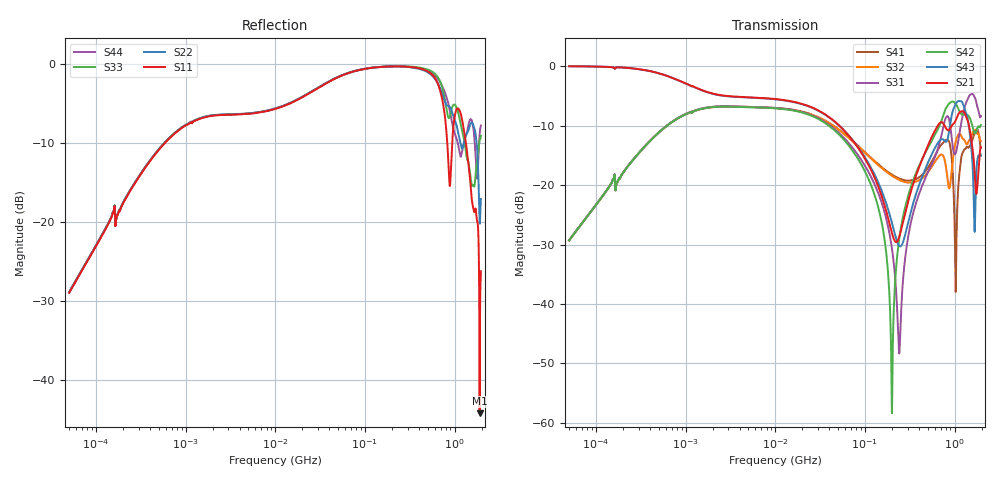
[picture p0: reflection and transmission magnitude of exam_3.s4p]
#  HZ  S  RI  R  50.00
! Rohde & Schwarz Vector Network Analyzer
! Rohde-Schwarz,ZNB8-4Port,1311601044102771,3.45
! Created: UTC 10/24/2024, 3:18:50 PM
!The following Port Impedance Renormalization has been used when saving the data.
!PortZ  Port1:50+j0  Port2:50+j0  Port3:50+j0  Port4:50+j0
! freq[Hz]  re:S11  im:S11  re:S12  im:S12  re:S13  im:S13  re:S14  im:S14
!  re:S21  im:S21  re:S22  im:S22  re:S23  im:S23  re:S24  im:S24
!  re:S31  im:S31  re:S32  im:S32  re:S33  im:S33  re:S34  im:S34
!  re:S41  im:S41  re:S42  im:S42  re:S43  im:S43  re:S44  im:S44
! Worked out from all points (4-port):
!   3995 points, 50 kHz to 1.968 GHz, reference 50 ohm
!   strongest paths, dB at 50 kHz, 703.4 kHz, 9.921 MHz, 139.9 MHz, 1.968 GHz:
!     S21: 0.0, -1.9, -5.5, -20.1, -13.6
!     S43: 0.0, -2.0, -5.6, -19.4, -15.1
!     S42: -29.3, -9.4, -7.1, -23.6, -9.9
!     S31: -29.3, -9.4, -7.0, -21.2, -8.4
!     S32: -29.3, -9.4, -7.1, -16.6, -12.6
!     S41: -29.3, -9.4, -7.0, -16.5, -13.8
!   lowest |S11| = -44.2 dB at 1.907 GHz (marker M1), VSWR 1.01, Z = 50 + j0.619 ohm
!   |S11| at or under -10 dB: start of sweep to 587.4 kHz; 829.9 MHz to 941.7 MHz (111.8 MHz wide, 12.6 % of centre); 1.34 GHz to end of sweep
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50000  0.00465 0.0354  0.996 -0.0354  0.00265 0.0341  -0.00274 -0.0345
       0.9959 -0.035  0.0047 0.0357  -0.00267 -0.0341  0.00275 0.0345
       0.00263 0.0343  -0.00262 -0.0341  0.00338 0.0358  0.9975 -0.0356
       -0.00263 -0.0343  0.00264 0.0342  0.9983 -0.0355  0.00348 0.0358
2.219755e7  0.5988 0.2086  0.4003 -0.2378  0.3477 -0.1944  -0.3475 0.2071
            0.4035 -0.2388  0.6034 0.2065  -0.3462 0.2059  0.3472 -0.1954
            0.3509 -0.195  -0.3468 0.2058  0.6023 0.209  0.4012 -0.2398
            -0.3496 0.2066  0.3466 -0.1937  0.4001 -0.2386  0.6026 0.2087
1.212789e8  0.9421 -0.0386  0.0447 -0.1167  0.0125 -0.109  -0.000333 0.1634
            0.0453 -0.1183  0.9431 -0.0593  -0.000213 0.1627  0.0113 -0.0924
            0.0125 -0.1103  3.21e-05 0.1629  0.9434 -0.0259  0.045 -0.1251
            1.32e-05 0.1654  0.0114 -0.0924  0.0451 -0.1252  0.9434 -0.0501
2.000933e8  0.9334 -0.2306  0.029 -0.0258  -0.00661 -0.0282  0.0339 0.1158
            0.0292 -0.0268  0.926 -0.2615  0.0341 0.115  0.00116 -0.00024
            -0.00688 -0.0286  0.0344 0.1146  0.9402 -0.2087  0.0253 -0.0405
            0.035 0.1172  0.00118 -0.000248  0.0253 -0.0411  0.9302 -0.2469
3.631603e8  0.7816 -0.5335  0.0862 0.075  0.0251 0.0609  0.0607 0.0919
            0.0866 0.0742  0.7424 -0.5764  0.0602 0.0891  0.0661 0.1018
            0.0255 0.0613  0.0596 0.0882  0.8145 -0.4951  0.0632 0.0505
            0.0625 0.0926  0.0661 0.1018  0.0623 0.0494  0.7648 -0.555
1.906868e9  2.7e-05 0.00619  0.1266 -0.1073  -0.2043 -0.3259  -0.1798 -0.1254
            0.1426 -0.1092  0.0492 -0.0853  -0.2222 -0.1435  -0.1841 -0.2388
            -0.2007 -0.3228  -0.2052 -0.1363  0.2402 0.2238  -0.0834 -0.147
            -0.2017 -0.1246  -0.1837 -0.2446  -0.0774 -0.1603  0.3549 -0.0615
1.968461e9  0.0481 0.00921  0.071 -0.1829  -0.2087 -0.3235  -0.1727 -0.0777
            0.0804 -0.1929  0.1281 -0.056  -0.2309 -0.1048  -0.2184 -0.2249
            -0.2026 -0.3222  -0.2124 -0.0987  0.3063 0.1693  -0.1167 -0.1163
            -0.1919 -0.0726  -0.2212 -0.231  -0.1169 -0.132  0.3865 -0.1275
